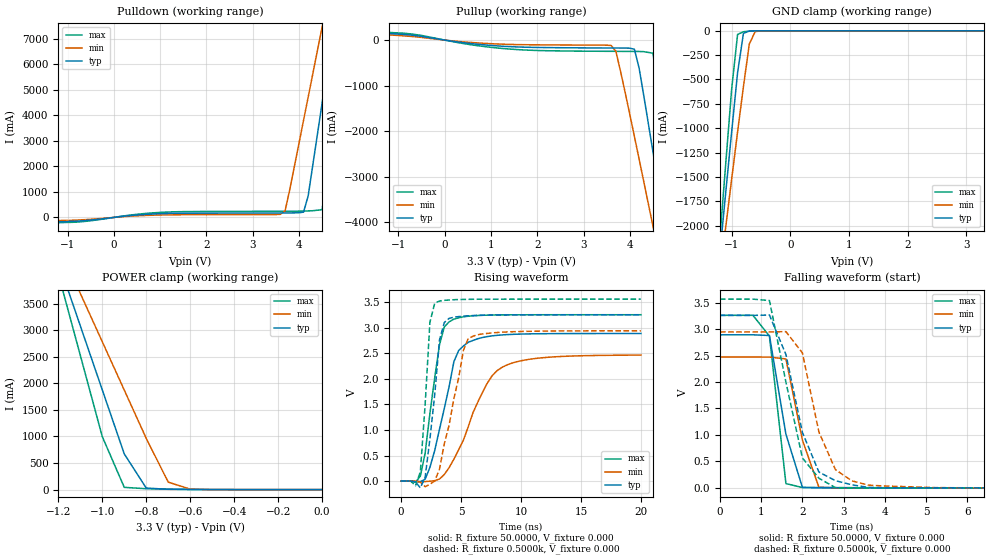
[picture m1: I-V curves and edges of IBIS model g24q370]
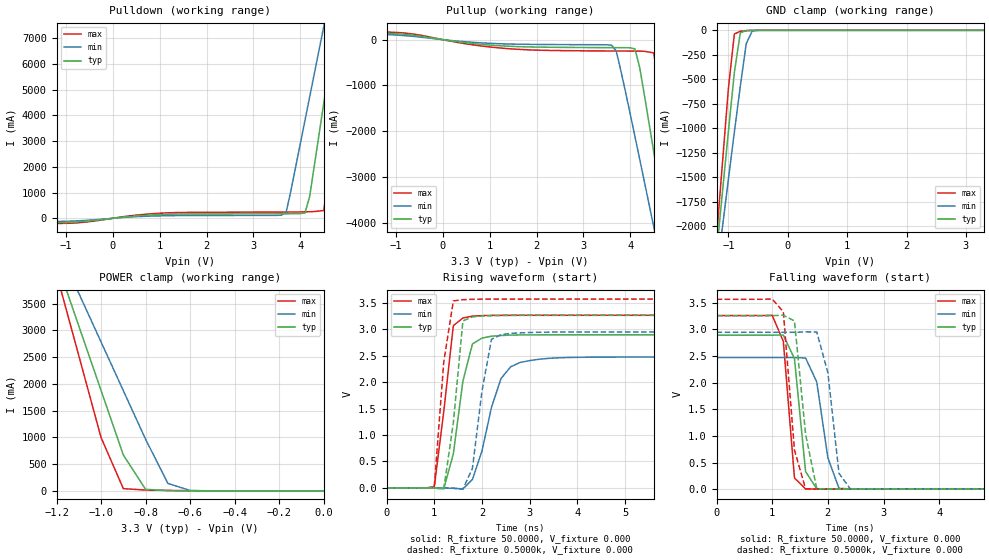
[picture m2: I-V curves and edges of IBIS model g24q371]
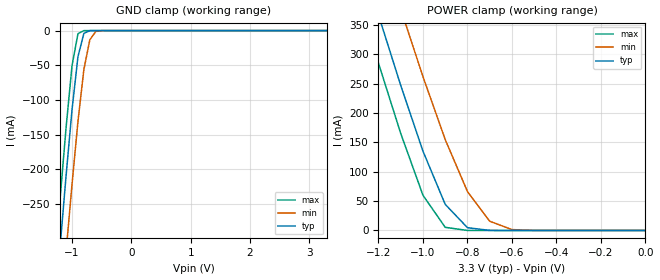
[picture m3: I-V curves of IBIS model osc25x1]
|   National Semiconductor Corporation
|   Interface Products Group
|   IBIS Model of DP83848 AspenPHY
|   48L LQFP Package
[IBIS Ver]   3.2
[Comment char]  |_char
[File name]   dp83848.ibs
[File Rev]   0.1
[Date]   8/24/2005
[Source]   File originated at National Semiconductor Corporation.
   Interface Group/Analog Division. All models created with
   Spectre s2ibis simulations by Sida Zhang.
| All models created by s2ibis2 version 1.1
| North Carolina State University Electronics Research Laboratory  1995
[Notes]
   Rev 0.1 The file does not have TD+/TD- and RD+/RD- models
   due to the IBIS modeling limitations and design complexity.
[Disclaimer]
(C) Copyright National Semiconductor Corporation 2005
                All rights reserved
     National Semiconductor Corporation hereby grants
the user of this IBIS model a non-exclusive, nontransferable
license to use this IBIS model under the following terms.
Before using this IBIS model, the user should read this
license.  If the user does not accept these terms,  the
IBIS model should be returned to National within 30 days.
     The user is granted this license only to use the
IBIS model and is not granted rights to sell, load, rent,
lease or license the IBIS model in whole or in part, or in
modified form to anyone other than user. User may modify
the IBIS model to suit its specific applications but rights
to derivative works and such modifications shall belong to
National.
     This IBIS model is provided on an "AS IS" basis and
National makes absolutely no warranty with respect to the
information contained herein.NATIONAL DISCLAIMS AND CUSTOMER
WAIVES ALL WARRANTIES, EXPRESS OR IMPLIED, INCLUDING
WARRANTIES OF MERCHANTABILITY OR FITNESS FOR A PARTICULAR
PURPOSE. The entire risk as to quality and performance is
with the Customer. ACCORDINGLY, IN NO EVENT SHALL THE
COMPANY BE LIABLE FOR ANY DAMAGES, WHETHER IN CONTRACT OR
TORT,INCLUDING ANY LOST PROFITS OR OTHER INCIDENTAL,
CONSEQUENTIAL, EXEMPLARY, OR PUNITIVE DAMAGES ARISING OUT
OF THE USE OR APPLICATION OF THE IBIS model provided in
this package.Further, National reserves the right to make
changes without notice to any product herein to improve
reliability, function, or design. National does not convey
any license under patent rights or any other intellectual
property rights, including those of third parties.
     National is not obligated to provide maintenance or support
for the licensed IBIS model.
Contact National at ATTN:INTERFACE APPLICATIONS/IBIS MODELS.
2900 Semiconductor Drive, M/S A2595, Santa Clara, CA 95052-8090
[Copyright]   Copyright 2005, National Semiconductor, All Rights Reserved
[Component]   DP83848
[Manufacturer]  National Semiconductor Corporation
[Package]
|   typ   min   max
R_pkg   50.0m   50.0m   50.0m
L_pkg   1.88nH   1.7922n   2.11433n
C_pkg   0.306pF   0.27505p   0.33960p
[Pin]   signal_name   model_name   R_pin   L_pin   C_pin
1   TX_CLK   g24q37x   50.0m   2.11433n   0.27505p
2   TX_EN   g24q37x   50.0m   2.01554n   0.33960p
3   TXD_0   g24q37x   50.0m   1.94357n   0.32802p
4   TXD_1   g24q37x   50.0m   1.89274n   0.32012p
5   TXD_2   g24q37x   50.0m   1.83759n   0.31097p
6   TXD_3/SNI_MODE   g24q37x   50.0m   1.79220n   0.30663p
7   PWR_DOWN/INT   g24q37x   50.0m   1.79220n   0.30663p
8   TCK   g24q37x   50.0m   1.83759n   0.31097p
9   TDO   g24q37x   50.0m   1.89274n   0.32012p
10   TMS   g24q37x   50.0m   1.94357n   0.32802p
11   TRST#   g24q37x   50.0m   2.01554n   0.33960p
12   TDI   g24q37x   50.0m   2.11433n   0.27505p
13   RD-   NC   50.0m   2.11433n   0.27505p
14   RD+   NC   50.0m   2.01554n   0.33960p
15   AGND   GND   50.0m   1.94357n   0.32802p
16   TD-   NC   50.0m   1.89274n   0.32012p
17   TD+   NC   50.0m   1.83759n   0.31097p
18   PFBIN1   NC   50.0m   1.79220n   0.30663p
19   AGND   GND   50.0m   1.79220n   0.30663p
20   RESERVED   NC   50.0m   1.83759n   0.31097p
21   RESERVED   NC   50.0m   1.89274n   0.32012p
22   AVDD33   POWER   50.0m   1.94357n   0.32802p
23   PFBOUT   NC   50.0m   2.01554n   0.33960p
24   RBIAS   NC   50.0m   2.11433n   0.27505p
25   25MHz_OUT   g24q37x   50.0m   2.11433n   0.27505p
26   LED_ACT/COL/AN_EN   g24q37x   50.0m   2.01554n   0.33960p
27   LED_SPEED/AN1   g24q37x   50.0m   1.94357n   0.32802p
28   LED_LINK/AN0   g24q37x   50.0m   1.89274n   0.32012p
29   RESET_N   g24q37x   50.0m   1.83759n   0.31097p
30   MDIO   g24q37x   50.0m   1.79220n   0.30663p
31   MDC   g24q37x   50.0m   1.79220n   0.30663p
32   IOVDD33   POWER   50.0m   1.83759n   0.31097p
33   X2   osc25x2   50.0m   1.89274n   0.32012p
34   X1   osc25x1   50.0m   1.94357n   0.32802p
35   IOGND   GND   50.0m   2.01554n   0.33960p
36   DGND   GND   50.0m   2.11433n   0.27505p
37   PFBIN2   NC   50.0m   2.11433n   0.27505p
38   RX_CLK   g24q37x   50.0m   2.01554n   0.33960p
39   RX_DV/MII_MODE   g24q37x   50.0m   1.94357n   0.32802p
40   CRS/CRS_DV/LED_CFG  g24q37x   50.0m   1.89274n   0.32012p
41   RX_ER/MDIX_EN   g24q37x   50.0m   1.83759n   0.31097p
42   COL/PHYAD0   g24q37x   50.0m   1.79220n   0.30663p
43   RXD_0/PHYAD1   g24q37x   50.0m   1.79220n   0.30663p
44   RXD_1/PHYAD2   g24q37x   50.0m   1.83759n   0.31097p
45   RXD_2/PHYAD3   g24q37x   50.0m   1.89274n   0.32012p
46   RXD_3/PHYAD4   g24q37x   50.0m   1.94357n   0.32802p
47   IOGND   GND   50.0m   2.01554n   0.33960p
48   IOVDD33   POWER   50.0m   2.11433n   0.27505p
[Diff_pin]   inv_pin   vdiff   tdelay_typ   tdelay_min   tdelay_max
| The '+' pin is Diff_pin and the '-' pin is the inv_pin
14   13   0.100   0 0 0
17   16   0.100   0 0 0
[Model Selector]   g24q37x
g24q370   mode: SS = VSS
g24q371   mode: SS = VDD
| Models and submodels in the file (4): g24q370 (I/O), g24q371 (I/O), osc25x1 (Input), osc25x2 (Output)
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|   Model g24q370
[Model]   g24q370
Model_type   I/O
Polarity   Non-Inverting
Enable   Active-High
Vinl = 0.8000V
Vinh = 2.0000V
Vmeas = 1.5000V
C_comp   1.0640pF   1.0620pF   1.0670pF
[Temperature Range]   25.0000   0.1250k   -40.0000
[Voltage Range]   3.3000V   3.0000V   3.6000V
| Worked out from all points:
|   slope of the pulldown table from 0 to 0.495 V, typ, clamps not added: 5.31 ohm
|   slope of the pullup table from 0 to 0.495 V, typ, clamps not added: 7.25 ohm
|   GND clamp passes 1 mA (typ) near -0.64 V on its own axis
|   POWER clamp passes 1 mA (typ) near -0.54 V on its own axis
|   rising waveform, R_fixture 50.0000, V_fixture 0.000: 20-80 % time 1.6ns typ, 2.8ns min, 1.1ns max; typ from 0 V to 2.89 V
|   rising waveform, R_fixture 0.5000k, V_fixture 0.000: 20-80 % time 833ps typ, 1.56ns min, 573ps max; typ from 0 V to 3.26 V
|   falling waveform, R_fixture 50.0000, V_fixture 0.000: 20-80 % time 452ps typ, 464ps min, 281ps max; typ from 2.89 V to 0 V
|   falling waveform, R_fixture 0.5000k, V_fixture 0.000: 20-80 % time 659ps typ, 611ps min, 580ps max; typ from 3.26 V to 0 V
[Pulldown]
| voltage   I(typ)   I(min)   I(max)
-3.3V     -160.5mA   -118.3mA   -200.7mA
-900mV    -153.7mA   -111mA     -192.4mA
1.1V      151.8mA    98.11mA    206.2mA
3.6V      174.1mA    121.6mA    241.2mA
3.7V      174.7mA    254.1mA    242mA
4.1V      208.2mA    3.809A     248.7mA
4.2V      852.2mA    4.721A     254.3mA
4.5V      4.477A     7.457A     302mA
4.7V      6.898A     9.283A     2.796A
4.9V      9.321A     11.11A     5.87A
5.1V      11.75A     12.94A     8.947A
6.6V      30.05A     26.73A     32.17A
[Pullup]
| voltage   I(typ)   I(min)   I(max)
-3.3V     188.1mA    165.2mA    206.9mA
-900mV    123.6mA    93.95mA    153.1mA
1.3V      -138.1mA   -91.87mA   -188.7mA
3.6V      -174.3mA   -119.7mA   -247.2mA
3.7V      -174.6mA   -248.3mA   -247.7mA
4.1V      -202.3mA   -2.118A    -249.5mA
4.2V      -607mA     -2.608A    -250.6mA
4.5V      -2.447A    -4.087A    -288.9mA
4.7V      -3.699A    -5.076A    -1.602A
4.9V      -4.956A    -6.068A    -3.14A
5.1V      -6.215A    -7.061A    -4.687A
6.6V      -15.68A    -14.52A    -16.34A
[GND_clamp]
| voltage   I(typ)   I(min)   I(max)
-3.3V     -15.47A    -12.9A     -18.37A
-1.2V     -2.269A    -2.494A    -2.116A
-1.1V     -1.647A    -2.005A    -1.349A
-1V       -1.031A    -1.519A    -592.6mA
-900mV    -430.7mA   -1.039A    -37.49mA
-800mV    -26.32mA   -572.9mA   -9.444mA
-700mV    -1.926mA   -136.4mA   -3.598mA
-600mV    -247.7uA   -8.119mA   -648.8uA
-400mV    -1.571uA   -27.47uA   -1.62uA
3.3V      22.02pA    3.648uA    15.2pA
[POWER_clamp]
| voltage   I(typ)   I(min)   I(max)
-3.3V     29.64A     23.74A     36.19A
-1.2V     4.29A      4.604A     4.058A
-1.1V     3.083A     3.693A     2.528A
-1V       1.877A     2.784A     997.8mA
-900mV    671.8mA    1.874A     42.61mA
-800mV    29.37mA    964.9mA    16.3mA
-700mV    5.409mA    140.5mA    9.688mA
-600mV    1.864mA    8.479mA    4.466mA
0V        22.02pA    589.3pA    18.15pA
[Ramp]
| variable   typ   min   max
dV/dt_r   1.7348/1.6680n   1.4811/3.0471n   1.9560/1.1060n
dV/dt_f   1.8068/1.8411n   1.5594/3.2593n   2.0132/1.2189n
R_load = 50.0000
[Rising Waveform]
R_fixture = 50.0000
V_fixture = 0.000
V_fixture_min = 0.000
V_fixture_max = 0.000
| time   V(typ)   V(min)   V(max)
0s        121pV      6.465nV    36.64pV
1.6ns     -12.04mV   -15.26mV   96.9mV
2ns       34.22mV    -11.2mV    543.1mV
2.4ns     268mV      -3.569mV   1.326V
3.2ns     1.016V     39.7mV     2.674V
4ns       1.85V      262mV      3.12V
4.8ns     2.559V     613.5mV    3.2V
7.2ns     2.832V     1.925V     3.252V
8.4ns     2.864V     2.227V     3.257V
20ns      2.891V     2.468V     3.26V
[Rising Waveform]
R_fixture = 0.5000k
V_fixture = 0.000
V_fixture_min = 0.000
V_fixture_max = 0.000
| time   V(typ)   V(min)   V(max)
0s        130pV      7.171nV    38.79pV
1.2ns     -20.26mV   28.89uV    -92.41mV
1.6ns     -134.2mV   -21.16mV   180.7mV
2ns       72.06mV    -111.1mV   1.492V
2.4ns     825.8mV    -63.59mV   3.114V
2.8ns     1.692V     781.9uV    3.485V
3.2ns     2.765V     233.9mV    3.529V
3.6ns     3.107V     729.7mV    3.542V
5.6ns     3.239V     2.796V     3.562V
20ns      3.259V     2.945V     3.566V
[Falling Waveform]
R_fixture = 50.0000
V_fixture = 0.000
V_fixture_min = 0.000
V_fixture_max = 0.000
| time   V(typ)   V(min)   V(max)
0s        2.891V     2.471V     3.26V
800ps     2.891V     2.471V     3.26V
1.2ns     2.878V     2.471V     2.867V
1.6ns     1.014V     2.436V     81.31mV
2ns       8.918mV    903.1mV    5.147mV
2.4ns     3.412mV    11.78mV    4.297mV
20ns      2.471uV    23.79uV    19.15uV
[Falling Waveform]
R_fixture = 0.5000k
V_fixture = 0.000
V_fixture_min = 0.000
V_fixture_max = 0.000
| time   V(typ)   V(min)   V(max)
0s        3.259V     2.945V     3.566V
1.2ns     3.265V     2.946V     3.539V
1.6ns     2.519V     2.952V     1.996V
2ns       1.048V     2.55V      564.1mV
2.4ns     298.8mV    1.056V     181.6mV
2.8ns     136.3mV    345.2mV    4.978mV
3.2ns     58.01mV    132.1mV    1.436mV
3.6ns     8.285mV    52.25mV    931.6uV
5.2ns     739.4uV    5.88mV     479.6uV
20ns      3.35uV     19.65uV    13.62uV
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|   Model g24q371
[Model]   g24q371
Model_type   I/O
Polarity   Non-Inverting
Enable   Active-High
Vinl = 0.8000V
Vinh = 2.0000V
Vmeas = 1.5000V
C_comp   1.0640pF   1.0620pF   1.0670pF
[Temperature Range]   25.0000   0.1250k   -40.0000
[Voltage Range]   3.3000V   3.0000V   3.6000V
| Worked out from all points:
|   slope of the pulldown table from 0 to 0.495 V, typ, clamps not added: 5.31 ohm
|   slope of the pullup table from 0 to 0.495 V, typ, clamps not added: 7.25 ohm
|   GND clamp passes 1 mA (typ) near -0.64 V on its own axis
|   POWER clamp passes 1 mA (typ) near -0.54 V on its own axis
|   rising waveform, R_fixture 50.0000, V_fixture 0.000: 20-80 % time 305ps typ, 443ps min, 255ps max; typ from 0 V to 2.89 V
|   rising waveform, R_fixture 0.5000k, V_fixture 0.000: 20-80 % time 236ps typ, 278ps min, 223ps max; typ from 0 V to 3.26 V
|   falling waveform, R_fixture 50.0000, V_fixture 0.000: 20-80 % time 164ps typ, 228ps min, 152ps max; typ from 2.89 V to 0 V
|   falling waveform, R_fixture 0.5000k, V_fixture 0.000: 20-80 % time 222ps typ, 213ps min, 169ps max; typ from 3.26 V to 0 V
[Pulldown]
| voltage   I(typ)   I(min)   I(max)
-3.3V     -160.2mA   -118.3mA   -200.5mA
-900mV    -153.7mA   -111mA     -192.4mA
1.1V      151.8mA    98.11mA    206.2mA
3.6V      174.1mA    121.6mA    241.2mA
3.7V      174.7mA    254.1mA    242mA
4.1V      208.2mA    3.809A     248.7mA
4.2V      852.2mA    4.721A     254.3mA
4.5V      4.477A     7.457A     302mA
4.7V      6.898A     9.283A     2.796A
4.9V      9.321A     11.11A     5.87A
5.1V      11.75A     12.94A     8.947A
6.6V      30.05A     26.73A     32.17A
[Pullup]
| voltage   I(typ)   I(min)   I(max)
-3.3V     188.1mA    165.2mA    206.9mA
-900mV    123.6mA    93.95mA    153.1mA
1.3V      -138.1mA   -91.87mA   -188.7mA
3.6V      -174.3mA   -119.7mA   -247.2mA
3.7V      -174.6mA   -248.3mA   -247.7mA
4.1V      -202.3mA   -2.118A    -249.5mA
4.2V      -607mA     -2.608A    -250.6mA
4.5V      -2.447A    -4.087A    -288.9mA
4.7V      -3.699A    -5.076A    -1.602A
4.9V      -4.956A    -6.068A    -3.14A
5.1V      -6.215A    -7.061A    -4.687A
6.6V      -15.68A    -14.52A    -16.34A
[GND_clamp]
| voltage   I(typ)   I(min)   I(max)
-3.3V     -15.47A    -12.9A     -18.37A
-1.2V     -2.269A    -2.494A    -2.116A
-1.1V     -1.647A    -2.005A    -1.349A
-1V       -1.031A    -1.519A    -592.6mA
-900mV    -430.7mA   -1.039A    -37.49mA
-800mV    -26.32mA   -572.9mA   -9.444mA
-700mV    -1.926mA   -136.4mA   -3.598mA
-600mV    -247.7uA   -8.119mA   -648.8uA
-400mV    -1.571uA   -27.47uA   -1.62uA
3.3V      22.02pA    3.648uA    15.2pA
[POWER_clamp]
| voltage   I(typ)   I(min)   I(max)
-3.3V     29.64A     23.74A     36.19A
-1.2V     4.29A      4.604A     4.058A
-1.1V     3.083A     3.693A     2.528A
-1V       1.877A     2.784A     997.8mA
-900mV    671.8mA    1.874A     42.61mA
-800mV    29.37mA    964.9mA    16.3mA
-700mV    5.409mA    140.5mA    9.688mA
-600mV    1.864mA    8.479mA    4.466mA
0V        22.02pA    589.3pA    18.15pA
[Ramp]
| variable   typ   min   max
dV/dt_r   1.7349/0.2508n   1.4826/0.4433n   1.9560/0.1515n
dV/dt_f   1.8070/0.2376n   1.5633/0.4896n   2.0132/0.1242n
R_load = 50.0000
[Rising Waveform]
R_fixture = 50.0000
V_fixture = 0.000
V_fixture_min = 0.000
V_fixture_max = 0.000
| time   V(typ)   V(min)   V(max)
0s        120pV      6.463nV    36.12pV
1ns       -2.017mV   -2.517uV   18.97mV
1.2ns     -14.1mV    98.99uV    1.448V
1.4ns     643.8mV    -5.461mV   3.064V
1.6ns     2.014V     -18.5mV    3.208V
1.8ns     2.718V     159.2mV    3.245V
2ns       2.829V     698.6mV    3.254V
2.4ns     2.878V     2.067V     3.259V
2.8ns     2.889V     2.37V      3.26V
10ns      2.891V     2.471V     3.26V
[Rising Waveform]
R_fixture = 0.5000k
V_fixture = 0.000
V_fixture_min = 0.000
V_fixture_max = 0.000
| time   V(typ)   V(min)   V(max)
0s        128.9pV    7.169nV    38.24pV
1ns       -2.153mV   -2.75uV    16.18mV
1.2ns     -15.48mV   107.8uV    2.382V
1.4ns     1.228V     -6.058mV   3.532V
1.6ns     3.152V     -22.38mV   3.554V
1.8ns     3.229V     370.4mV    3.561V
2ns       3.245V     1.829V     3.564V
2.2ns     3.253V     2.808V     3.565V
2.4ns     3.256V     2.892V     3.565V
10ns      3.259V     2.945V     3.566V
[Falling Waveform]
R_fixture = 50.0000
V_fixture = 0.000
V_fixture_min = 0.000
V_fixture_max = 0.000
| time   V(typ)   V(min)   V(max)
0s        2.891V     2.471V     3.26V
1ns       2.891V     2.471V     3.264V
1.2ns     2.893V     2.471V     2.777V
1.4ns     2.45V      2.471V     209.6mV
1.6ns     330.4mV    2.463V     4.062mV
1.8ns     6.446mV    2.015V     2.365mV
2ns       3.151mV    589mV      1.211mV
2.2ns     2.061mV    15.86mV    714.1uV
3.2ns     205uV      1.388mV    8.048uV
10ns      23.91uV    -10.79uV   -18.01uV
[Falling Waveform]
R_fixture = 0.5000k
V_fixture = 0.000
V_fixture_min = 0.000
V_fixture_max = 0.000
| time   V(typ)   V(min)   V(max)
0s        3.259V     2.945V     3.566V
1ns       3.259V     2.945V     3.57V
1.2ns     3.266V     2.946V     3.331V
1.4ns     3.159V     2.945V     734.1mV
1.6ns     1.031V     2.954V     5.091mV
1.8ns     10.71mV    2.952V     2.517mV
2ns       3.695mV    2.188V     1.663mV
2.2ns     2.131mV    296.9mV    1.011mV
2.4ns     1.217mV    10.3mV     566.3uV
10ns      -25.17uV   -2.838uV   -135.7nV
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|   Model osc25x1
[Model]   osc25x1
Model_type   Input
Polarity   Inverting
Enable   Active-High
Vinl = 0.8000V
Vinh = 2.0000V
C_comp   1.0000pF   1.0000pF   1.0000pF
[Temperature Range]   25.0000   0.1250k   -40.0000
[Voltage Range]   3.3000V   3.0000V   3.6000V
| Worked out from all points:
|   GND clamp passes 1 mA (typ) near -0.72 V on its own axis
|   POWER clamp passes 1 mA (typ) near -0.72 V on its own axis
[GND_clamp]
| voltage   I(typ)   I(min)   I(max)
-3.3V     -2.622A    -2.694A    -2.579A
-1.3V     -414.8mA   -523mA     -346.4mA
-1.2V     -310.3mA   -419.8mA   -240.9mA
-1.1V     -208.9mA   -318.8mA   -139.7mA
-1V       -114.1mA   -221.5mA   -50.66mA
-900mV    -37.58mA   -131mA     -4.515mA
-800mV    -4.019mA   -56.03mA   -47.48uA
-700mV    -108.1uA   -13.33mA   -2.355uA
-600mV    -3.685uA   -1.282mA   -1.753uA
-400mV    -1.001uA   -4.899uA   -1.167uA
3.3V      8.25uA     7.477uA    9.629uA
[POWER_clamp]
| voltage   I(typ)   I(min)   I(max)
-3.3V     3.1A       3.186A     3.05A
-1.3V     490.5mA    618.5mA    409.7mA
-1.2V     366.9mA    496.4mA    284.9mA
-1.1V     247mA      377mA      165.2mA
-1V       135mA      261.9mA    59.9mA
-900mV    44.44mA    154.8mA    5.346mA
-800mV    4.759mA    66.25mA    66.21uA
-700mV    135.7uA    15.76mA    12.92uA
-600mV    12.33uA    1.522mA    12.26uA
-500mV    9.553uA    95.08uA    11.96uA
0V        8.25uA     6.563uA    10.5uA
